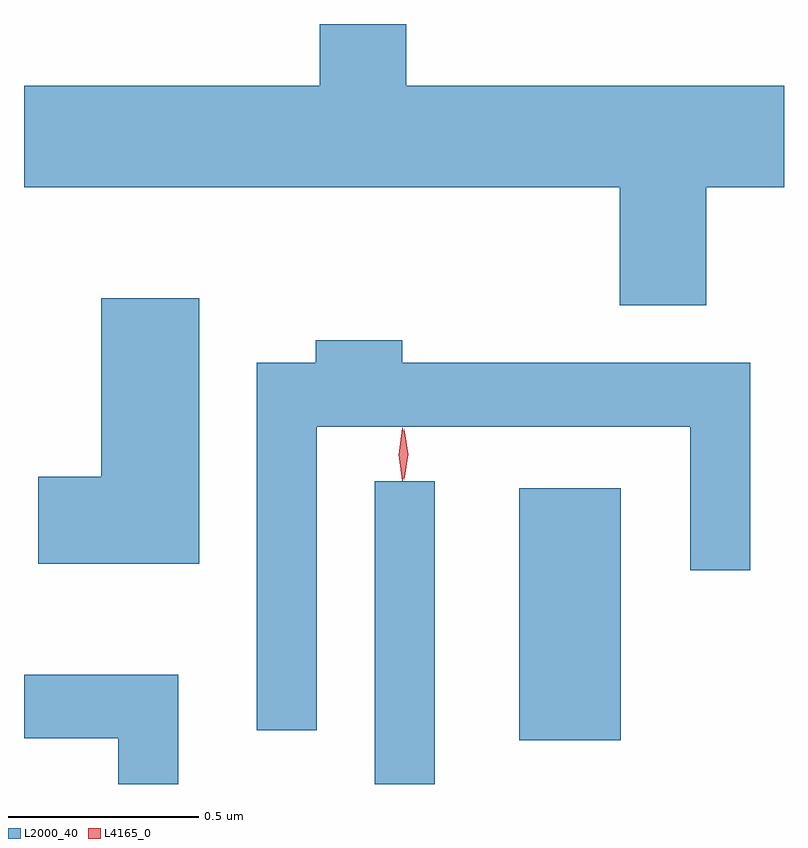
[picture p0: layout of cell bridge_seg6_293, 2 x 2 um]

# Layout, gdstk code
import gdstk
lib = gdstk.Library(unit=1e-6, precision=1e-09)
def R(c, l, rs):  # rectangles x0, y0, x1, y1
    for r in rs: c.add(gdstk.rectangle(r[:2], r[2:], *l))
def P(c, l, *ps):  # polygons
    for p in ps: c.add(gdstk.Polygon(p, *l))
L2000_40 = (2000, 40)
L4165_0 = (4165, 0)

bridge_seg6_293 = lib.new_cell('bridge_seg6_293')
R(bridge_seg6_293, L2000_40, [(1304.896,1555.126,1305.054,1555.923), (1305.276,1555.241,1305.544,1555.904)])
P(bridge_seg6_293, L2000_40, [(1305.769,1556.696),(1305.973,1556.696),(1305.973,1556.964),(1304.979,1556.964),(1304.979,1557.126),(1304.751,1557.126),(1304.751,1556.964),(1303.973,1556.964),(1303.973,1556.696),(1305.541,1556.696),(1305.541,1556.386),(1305.769,1556.386)],
  [(1304.434,1556.404),(1304.176,1556.404),(1304.176,1555.934),(1304.011,1555.934),(1304.011,1555.706),(1304.434,1555.706)],
  [(1304.744,1556.066),(1305.726,1556.066),(1305.726,1555.688),(1305.884,1555.688),(1305.884,1556.234),(1304.969,1556.234),(1304.969,1556.294),(1304.741,1556.294),(1304.741,1556.234),(1304.586,1556.234),(1304.586,1555.268),(1304.744,1555.268)],
  [(1304.379,1555.414),(1303.973,1555.414),(1303.973,1555.246),(1304.221,1555.246),(1304.221,1555.126),(1304.379,1555.126)])
P(bridge_seg6_293, L4165_0, [(1304.973,1555.927),(1304.964,1555.994),(1304.973,1556.06),(1304.974,1556.061),(1304.974,1556.06),(1304.984,1555.994),(1304.974,1555.927),(1304.974,1555.927)],
  [(1304.969,1555.924),(1304.959,1555.993),(1304.969,1556.062),(1304.969,1556.063),(1304.97,1556.062),(1304.979,1555.993),(1304.97,1555.924),(1304.97,1555.924)])

lib.write_gds('bridge_seg6_293.gds')
